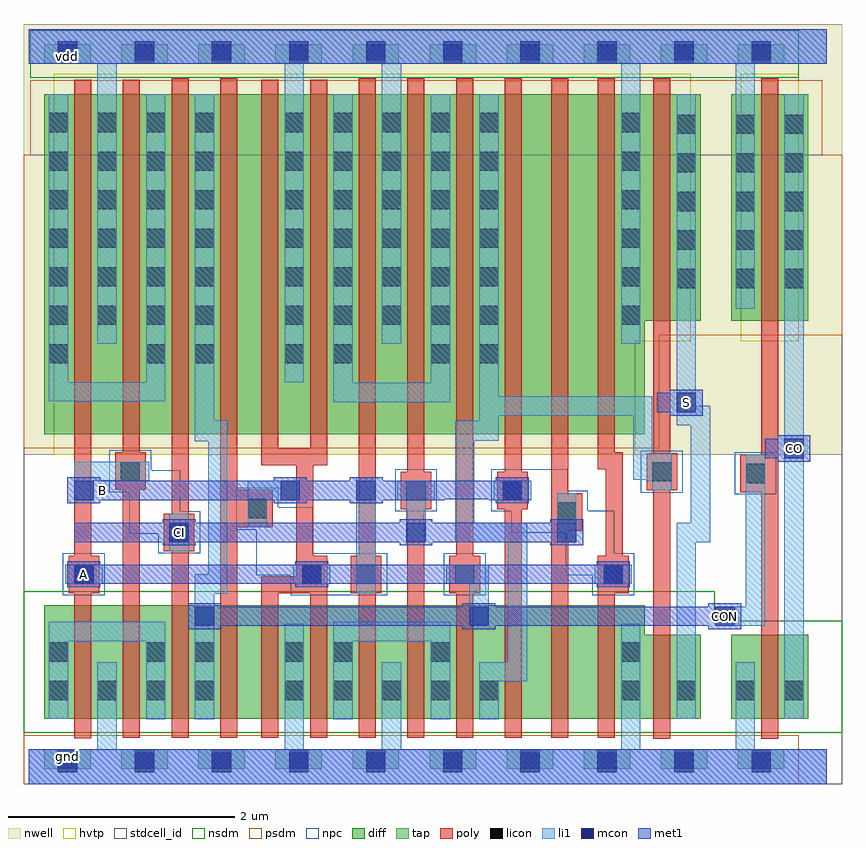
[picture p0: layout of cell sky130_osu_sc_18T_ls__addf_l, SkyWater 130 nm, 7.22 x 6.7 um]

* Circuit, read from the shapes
.subckt sky130_osu_sc_18T_ls__addf_l A B CI CO CON S gnd vdd
XM1 gnd A n1 gnd sky130_fd_pr__nfet_01v8 w=1 l=0.15
XM2 n1 B gnd gnd sky130_fd_pr__nfet_01v8 w=1 l=0.15
XM3 CON CI n1 gnd sky130_fd_pr__nfet_01v8 w=1 l=0.15
XM4 n2 B CON gnd sky130_fd_pr__nfet_01v8 w=1 l=0.15
XM5 gnd A n2 gnd sky130_fd_pr__nfet_01v8 w=1 l=0.15
XM6 n3 A gnd gnd sky130_fd_pr__nfet_01v8 w=1 l=0.15
XM7 gnd B n3 gnd sky130_fd_pr__nfet_01v8 w=1 l=0.15
XM8 n3 CI gnd gnd sky130_fd_pr__nfet_01v8 w=1 l=0.15
XM9 n4 CON n3 gnd sky130_fd_pr__nfet_01v8 w=1 l=0.15
XM10 n5 B n4 gnd sky130_fd_pr__nfet_01v8 w=1 l=0.15
XM11 n6 CI n5 gnd sky130_fd_pr__nfet_01v8 w=1 l=0.15
XM12 gnd A n6 gnd sky130_fd_pr__nfet_01v8 w=1 l=0.15
XM13 S n4 gnd gnd sky130_fd_pr__nfet_01v8 w=0.74 l=0.15
XM14 CO CON gnd gnd sky130_fd_pr__nfet_01v8 w=0.74 l=0.15
XM15 vdd A n7 vdd sky130_fd_pr__pfet_01v8_hvt w=3 l=0.15
XM16 n7 B vdd vdd sky130_fd_pr__pfet_01v8_hvt w=3 l=0.15
XM17 CON CI n7 vdd sky130_fd_pr__pfet_01v8_hvt w=3 l=0.15
XM18 n8 B CON vdd sky130_fd_pr__pfet_01v8_hvt w=3 l=0.15
XM19 vdd A n8 vdd sky130_fd_pr__pfet_01v8_hvt w=3 l=0.15
XM20 n9 A vdd vdd sky130_fd_pr__pfet_01v8_hvt w=3 l=0.15
XM21 vdd B n9 vdd sky130_fd_pr__pfet_01v8_hvt w=3 l=0.15
XM22 n9 CI vdd vdd sky130_fd_pr__pfet_01v8_hvt w=3 l=0.15
XM23 n4 CON n9 vdd sky130_fd_pr__pfet_01v8_hvt w=3 l=0.15
XM24 n10 B n4 vdd sky130_fd_pr__pfet_01v8_hvt w=3 l=0.15
XM25 n11 CI n10 vdd sky130_fd_pr__pfet_01v8_hvt w=3 l=0.15
XM26 vdd A n11 vdd sky130_fd_pr__pfet_01v8_hvt w=3 l=0.15
XM27 S n4 vdd vdd sky130_fd_pr__pfet_01v8_hvt w=2 l=0.15
XM28 CO CON vdd vdd sky130_fd_pr__pfet_01v8_hvt w=2 l=0.15
.ends

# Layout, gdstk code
import gdstk
lib = gdstk.Library(unit=1e-6, precision=1e-09)
def R(c, l, rs):  # rectangles x0, y0, x1, y1
    for r in rs: c.add(gdstk.rectangle(r[:2], r[2:], *l))
def A(c, l, x, y, w, h, nx, ny, dx, dy):  # array of equal rectangles
    R(c, l, [(x+i*dx, y+j*dy, x+i*dx+w, y+j*dy+h) for i in range(nx) for j in range(ny)])
nwell = (64, 20)
diff = (65, 20)
tap = (65, 44)
poly = (66, 20)
licon = (66, 44)
li1 = (67, 20)
mcon = (67, 44)
met1 = (68, 20)
hvtp = (78, 44)
stdcell_id = (81, 4)
nsdm = (93, 44)
psdm = (94, 20)
npc = (95, 20)

sky130_osu_sc_18t_ls__ad = lib.new_cell('sky130_osu_sc_18T_ls__addf_l')
R(sky130_osu_sc_18t_ls__ad, nwell, [(-0.045,2.905,7.175,6.705)])
R(sky130_osu_sc_18t_ls__ad, diff, [(0.135,0.575,5.925,1.315), (6.195,0.575,6.875,1.315), (0.135,1.315,5.435,1.575), (0.135,3.085,5.435,4.085), (0.135,4.085,5.925,6.085), (6.195,4.085,6.875,6.085)])
A(sky130_osu_sc_18t_ls__ad, tap, 0.135, 0.135, 0.41, 0.17, 10, 2, 0.68, 6.22)
A(sky130_osu_sc_18t_ls__ad, poly, 2.05, 0.41, 0.15, 1.275, 3, 1, 0.43, 0)
R(sky130_osu_sc_18t_ls__ad, poly, [(5.51,0.4,5.66,2.59), (6.46,0.4,6.61,2.575), (0.4,0.405,0.55,1.685), (0.83,0.41,0.98,2.595), (1.26,0.41,1.41,2.055), (1.69,0.41,1.84,2.265), (3.34,0.41,3.49,2.425), (3.77,0.41,3.92,1.685), (4.2,0.41,4.35,2.425), (4.61,0.41,4.76,2.235), (5.02,0.41,5.17,1.685), (0.35,1.685,0.62,2.015), (2.05,1.685,2.63,1.835), (2.84,1.685,3.11,2.015), (3.71,1.685,3.98,2.015), (5.02,1.685,5.29,2.015), (2.36,1.835,2.63,2.015), (0.4,2.015,0.55,6.215), (2.36,2.015,2.51,2.81), (2.91,2.015,3.06,6.225), (3.77,2.015,3.92,6.225), (5.09,2.015,5.24,2.775), (1.19,2.055,1.46,2.385), (4.61,2.235,4.88,2.565), (1.69,2.265,2.15,2.595), (1.26,2.385,1.41,6.225), (3.28,2.425,3.55,2.755), (4.13,2.425,4.4,2.755), (4.61,2.565,4.76,6.225), (6.275,2.575,6.61,2.905), (5.45,2.59,5.72,2.92), (0.76,2.595,1.03,2.925), (1.69,2.595,1.84,6.225), (3.34,2.755,3.49,6.225), (4.2,2.755,4.35,6.225), (5.02,2.775,5.24,2.925), (2.05,2.81,2.63,2.96), (6.46,2.905,6.61,6.225), (5.51,2.92,5.66,6.225), (0.83,2.925,0.98,6.215), (5.02,2.925,5.17,6.225), (2.05,2.96,2.2,6.215), (2.48,2.96,2.63,6.215)])
A(sky130_osu_sc_18t_ls__ad, licon, 0.255, 0.135, 0.17, 0.17, 10, 2, 0.68, 6.22)
A(sky130_osu_sc_18t_ls__ad, licon, 0.175, 0.74, 0.17, 0.17, 4, 2, 0.43, 3.31)
A(sky130_osu_sc_18t_ls__ad, licon, 2.255, 0.74, 0.17, 0.17, 5, 2, 0.43, 3.31)
A(sky130_osu_sc_18t_ls__ad, licon, 5.225, 4.05, 0.17, 0.17, 1, 6, 0, 0.34)
A(sky130_osu_sc_18t_ls__ad, licon, 5.715, 4.375, 0.17, 0.17, 1, 5, 0, 0.34)
A(sky130_osu_sc_18t_ls__ad, licon, 6.235, 4.375, 0.17, 0.17, 1, 5, 0, 0.34)
A(sky130_osu_sc_18t_ls__ad, licon, 6.665, 4.375, 0.17, 0.17, 1, 5, 0, 0.34)
A(sky130_osu_sc_18t_ls__ad, licon, 0.175, 4.39, 0.17, 0.17, 4, 5, 0.43, 0.34)
A(sky130_osu_sc_18t_ls__ad, licon, 2.255, 4.39, 0.17, 0.17, 5, 5, 0.43, 0.34)
R(sky130_osu_sc_18t_ls__ad, licon, [(5.225,0.74,5.395,0.91), (5.715,0.74,5.885,0.91), (6.235,0.74,6.405,0.91), (6.665,0.74,6.835,0.91), (0.175,1.08,0.345,1.25), (1.035,1.08,1.205,1.25), (1.465,1.08,1.635,1.25), (2.255,1.08,2.425,1.25), (2.685,1.08,2.855,1.25), (3.545,1.08,3.715,1.25), (5.225,1.08,5.395,1.25), (0.4,1.765,0.57,1.935), (2.41,1.765,2.58,1.935), (2.89,1.765,3.06,1.935), (3.76,1.765,3.93,1.935), (5.07,1.765,5.24,1.935), (1.24,2.135,1.41,2.305), (4.66,2.315,4.83,2.485), (1.93,2.345,2.1,2.515), (3.33,2.505,3.5,2.675), (4.18,2.505,4.35,2.675), (6.325,2.655,6.495,2.825), (5.5,2.67,5.67,2.84), (0.81,2.675,0.98,2.845), (0.175,3.71,0.345,3.88), (1.035,3.71,1.205,3.88), (1.465,3.71,1.635,3.88), (2.255,3.71,2.425,3.88), (2.685,3.71,2.855,3.88), (3.545,3.71,3.715,3.88), (3.975,3.71,4.145,3.88)])
R(sky130_osu_sc_18t_ls__ad, li1, [(0,0,7.04,0.305), (0.605,0.305,0.775,1.075), (2.255,0.305,2.425,1.415), (3.115,0.305,3.285,1.075), (5.225,0.305,5.395,1.415), (6.235,0.305,6.405,1.075), (1.035,0.57,1.205,1.26), (1.465,0.57,1.635,1.68), (2.685,0.57,2.855,1.26), (3.545,0.57,3.715,1.26), (3.975,0.57,4.145,0.905), (0.175,0.575,0.345,1.26), (5.715,0.575,5.885,2.135), (6.665,0.575,6.835,6.085), (3.975,0.905,4.395,1.075), (4.225,1.075,4.395,2.135), (0.175,1.26,1.205,1.43), (2.685,1.26,3.715,1.43), (3.885,1.395,4.055,1.765), (6.055,1.395,6.495,1.565), (6.325,1.565,6.495,2.905), (1.465,1.68,1.75,1.85), (2.89,1.685,3.06,2.705), (0.32,1.765,0.65,1.935), (2.33,1.765,2.66,1.935), (3.68,1.765,4.055,1.935), (4.99,1.765,5.32,1.935), (1.58,1.85,1.75,3.025), (1.24,2.055,1.41,2.385), (3.33,2.135,3.5,2.505), (3.76,2.135,4.395,2.305), (4.66,2.135,4.83,2.565), (5.715,2.135,6.01,2.305), (1.93,2.265,2.1,2.505), (3.76,2.305,3.93,3.03), (5.84,2.305,6.01,3.165), (0.4,2.505,0.57,2.675), (1.93,2.505,2.39,2.675), (3.25,2.505,3.58,2.675), (4.1,2.505,4.43,2.675), (5.5,2.59,5.67,2.67), (5.445,2.67,5.67,2.685), (0.4,2.675,1.06,2.845), (5.33,2.685,5.67,2.92), (5.33,2.92,5.5,3.25), (1.465,3.025,1.75,3.21), (3.76,3.03,4.145,3.205), (5.715,3.165,6.01,3.335), (3.975,3.205,4.145,3.25), (1.465,3.21,1.635,6.085), (3.975,3.25,5.5,3.42), (5.715,3.335,5.885,6.085), (2.685,3.37,3.715,3.54), (0.175,3.375,1.205,3.545), (3.975,3.42,4.145,6.085), (2.685,3.54,2.855,6.085), (3.545,3.54,3.715,6.085), (0.175,3.545,0.345,6.085), (1.035,3.545,1.205,6.085), (2.255,3.545,2.425,6.355), (0.605,3.885,0.775,6.355), (3.115,3.885,3.285,6.355), (5.225,3.885,5.395,6.355), (6.235,4.195,6.405,6.355), (0,6.355,7.04,6.66)])
A(sky130_osu_sc_18t_ls__ad, mcon, 0.255, 0.105, 0.17, 0.17, 10, 2, 0.68, 6.28)
R(sky130_osu_sc_18t_ls__ad, mcon, [(1.465,1.395,1.635,1.565), (3.885,1.395,4.055,1.565), (6.055,1.395,6.225,1.565), (0.4,1.765,0.57,1.935), (2.41,1.765,2.58,1.935), (5.07,1.765,5.24,1.935), (1.24,2.135,1.41,2.305), (3.33,2.135,3.5,2.305), (4.66,2.135,4.83,2.305), (0.4,2.505,0.57,2.675), (2.22,2.505,2.39,2.675), (2.89,2.505,3.06,2.675), (4.18,2.505,4.35,2.675), (6.665,2.875,6.835,3.045), (5.715,3.28,5.885,3.45)])
R(sky130_osu_sc_18t_ls__ad, met1, [(0,0,7.04,0.305), (1.405,1.365,1.695,1.395), (3.825,1.365,4.115,1.395), (5.995,1.365,6.285,1.395), (1.405,1.395,6.285,1.565), (1.405,1.565,1.695,1.595), (3.825,1.565,4.115,1.595), (5.995,1.565,6.285,1.595), (0.34,1.735,0.63,1.765), (2.35,1.735,2.64,1.765), (5.01,1.735,5.3,1.765), (0.34,1.765,5.3,1.935), (0.34,1.935,0.63,1.965), (2.35,1.935,2.64,1.965), (5.01,1.935,5.3,1.965), (1.18,2.105,1.47,2.135), (3.27,2.105,3.56,2.135), (4.6,2.105,4.89,2.135), (0.4,2.135,4.89,2.305), (1.18,2.305,1.47,2.335), (3.27,2.305,3.56,2.335), (4.6,2.305,4.89,2.335), (0.34,2.475,0.63,2.505), (2.16,2.475,2.45,2.505), (2.83,2.475,3.12,2.505), (4.12,2.475,4.41,2.505), (0.34,2.505,3.67,2.51), (4.06,2.505,4.41,2.51), (0.34,2.51,4.41,2.675), (0.34,2.675,0.63,2.705), (2.16,2.675,2.45,2.705), (2.83,2.675,3.12,2.705), (4.12,2.675,4.41,2.705), (6.605,2.845,6.895,2.875), (6.495,2.875,6.895,3.045), (6.605,3.045,6.895,3.075), (5.655,3.25,5.945,3.28), (5.545,3.28,5.945,3.45), (5.655,3.45,5.945,3.48), (0,6.355,7.04,6.66)])
R(sky130_osu_sc_18t_ls__ad, hvtp, [(0.22,2.905,5.35,3.905), (0.22,3.905,5.84,6.265), (6.28,3.905,6.79,6.265)])
R(sky130_osu_sc_18t_ls__ad, stdcell_id, [(-0.045,0,7.175,5.55)])
R(sky130_osu_sc_18t_ls__ad, nsdm, [(-0.045,0.45,7.175,1.44), (-0.045,1.44,6.05,1.7), (0.01,6.23,6.79,6.65)])
R(sky130_osu_sc_18t_ls__ad, psdm, [(-0.045,0,6.79,0.43), (-0.045,2.96,5.56,3.96), (-0.045,3.96,7.175,5.55), (0.01,5.55,7,6.21)])
R(sky130_osu_sc_18t_ls__ad, npc, [(0.3,1.665,0.67,2.035), (2.31,1.665,3.16,1.84), (3.66,1.665,4.03,2.035), (4.97,1.665,5.34,1.84), (2.005,1.84,3.16,2.035), (4.735,1.84,5.34,2.035), (1.14,2.035,1.51,2.21), (2.005,2.035,2.505,2.245), (4.735,2.035,5.165,2.215), (0.885,2.21,1.51,2.405), (4.255,2.215,5.165,2.405), (1.83,2.245,2.505,2.44), (0.885,2.405,1.335,2.575), (3.23,2.405,3.6,2.775), (4.08,2.405,5.165,2.41), (4.08,2.41,4.93,2.585), (1.83,2.44,2.2,2.615), (6.225,2.555,6.595,2.925), (5.4,2.57,5.77,2.94), (0.71,2.575,1.335,2.77), (4.08,2.585,4.755,2.775), (0.71,2.77,1.08,2.945)])
sky130_osu_sc_18t_ls__ad.add(gdstk.Label('gnd', (0.34,0.24), layer=68, texttype=16))
sky130_osu_sc_18t_ls__ad.add(gdstk.Label('vdd', (0.34,6.42), layer=68, texttype=16))
sky130_osu_sc_18t_ls__ad.add(gdstk.Label('A', (0.485,1.85), layer=68, texttype=5))
sky130_osu_sc_18t_ls__ad.add(gdstk.Label('CI', (1.325,2.22), layer=68, texttype=5))
sky130_osu_sc_18t_ls__ad.add(gdstk.Label('B', (0.645,2.59), layer=68, texttype=5))
sky130_osu_sc_18t_ls__ad.add(gdstk.Label('CO', (6.75,2.96), layer=68, texttype=5))
sky130_osu_sc_18t_ls__ad.add(gdstk.Label('S', (5.8,3.365), layer=68, texttype=5))
sky130_osu_sc_18t_ls__ad.add(gdstk.Label('CON', (6.14,1.48), layer=68, texttype=5))

lib.write_gds('sky130_osu_sc_18T_ls__addf_l.gds')
